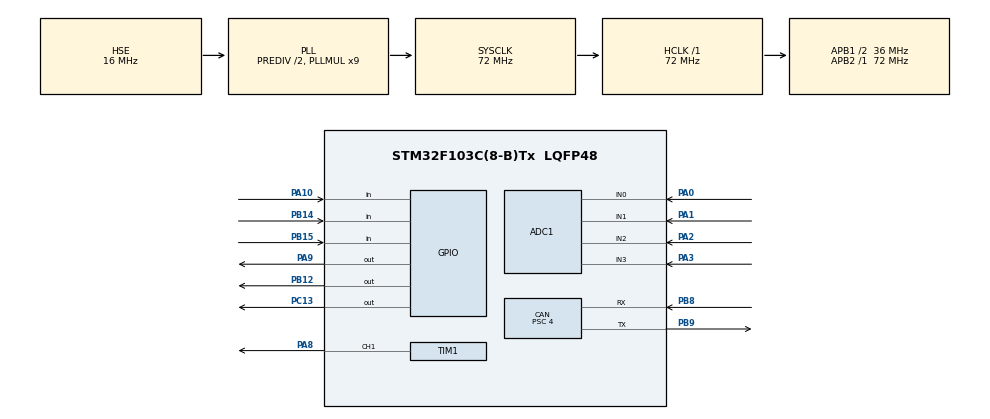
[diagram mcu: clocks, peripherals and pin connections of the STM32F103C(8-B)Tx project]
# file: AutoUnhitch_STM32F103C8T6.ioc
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ADC1.Channel-0\#ChannelRegularConversion=ADC_CHANNEL_0
ADC1.Channel-1\#ChannelRegularConversion=ADC_CHANNEL_1
ADC1.Channel-2\#ChannelRegularConversion=ADC_CHANNEL_0
ADC1.Channel-3\#ChannelRegularConversion=ADC_CHANNEL_0
ADC1.ContinuousConvMode=ENABLE
ADC1.NbrOfConversion=4
ADC1.NbrOfConversionFlag=1
ADC1.Rank-0\#ChannelRegularConversion=1
ADC1.Rank-1\#ChannelRegularConversion=2
ADC1.Rank-2\#ChannelRegularConversion=3
ADC1.Rank-3\#ChannelRegularConversion=4
ADC1.SamplingTime-0\#ChannelRegularConversion=ADC_SAMPLETIME_13CYCLES_5
ADC1.SamplingTime-1\#ChannelRegularConversion=ADC_SAMPLETIME_13CYCLES_5
ADC1.SamplingTime-2\#ChannelRegularConversion=ADC_SAMPLETIME_13CYCLES_5
ADC1.SamplingTime-3\#ChannelRegularConversion=ADC_SAMPLETIME_13CYCLES_5
ADC1.master=1
CAN.BS1=CAN_BS1_13TQ
CAN.BS2=CAN_BS2_4TQ
CAN.CalculateBaudRate=500000
CAN.CalculateTimeBit=2000
CAN.CalculateTimeQuantum=111.11111111111111
CAN.Prescaler=4
FREERTOS.Queues01=CAN1RX_Data_Queue,20,CAN1_Queue_TX,0,Dynamic,NULL,NULL
FREERTOS.Tasks01=Read_Sensors,24,128,Read_Sensors_Func,Default,NULL,Dynamic,NULL,NULL;CANRX_Data_Proc,24,128,CANRX_Data_Process_Func,Default,NULL,Dynamic,NULL,NULL;Decision_Making,24,128,Decision_Making_Function,Default,NULL,Dynamic,NULL,NULL
FREERTOS.configUSE_NEWLIB_REENTRANT=1
Mcu.Family=STM32F1
Mcu.Name=STM32F103C(8-B)Tx
Mcu.Package=LQFP48
NVIC.PriorityGroup=NVIC_PRIORITYGROUP_4
NVIC.TIM4_IRQn=true\:15\:0\:false\:false\:true\:false\:false\:true\:true
NVIC.TimeBase=TIM4_IRQn
NVIC.TimeBaseIP=TIM4
NVIC.USB_LP_CAN1_RX0_IRQn=true\:5\:0\:false\:false\:true\:true\:true\:true\:true
PA0-WKUP.Signal=ADCx_IN0
PA1.Signal=ADCx_IN1
PA10.Signal=GPIO_Input
PA13.Mode=Serial_Wire
PA13.Signal=SYS_JTMS-SWDIO
PA14.Mode=Serial_Wire
PA14.Signal=SYS_JTCK-SWCLK
PA2.Signal=ADCx_IN2
PA3.Signal=ADCx_IN3
PA8.Signal=S_TIM1_CH1
PA9.Signal=GPIO_Output
PB12.Signal=GPIO_Output
PB14.Signal=GPIO_Input
PB15.Signal=GPIO_Input
PB8.Mode=CAN_Activate
PB8.Signal=CAN_RX
PB9.Mode=CAN_Activate
PB9.Signal=CAN_TX
PC13-TAMPER-RTC.Signal=GPIO_Output
PD0-OSC_IN.Mode=HSE-External-Oscillator
PD0-OSC_IN.Signal=RCC_OSC_IN
PD1-OSC_OUT.Mode=HSE-External-Oscillator
PD1-OSC_OUT.Signal=RCC_OSC_OUT
ProjectManager.HeapSize=0x200
ProjectManager.StackSize=0x400
ProjectManager.TargetToolchain=STM32CubeIDE
RCC.ADCPresc=RCC_ADCPCLK2_DIV6
RCC.AHBFreq_Value=72000000
RCC.APB1CLKDivider=RCC_HCLK_DIV2
RCC.APB1Freq_Value=36000000
RCC.APB1TimFreq_Value=72000000
RCC.APB2Freq_Value=72000000
RCC.APB2TimFreq_Value=72000000
RCC.HCLKFreq_Value=72000000
RCC.HSEDivPLL=RCC_HSE_PREDIV_DIV2
RCC.HSE_VALUE=16000000
RCC.PLLMUL=RCC_PLL_MUL9
RCC.PLLSourceVirtual=RCC_PLLSOURCE_HSE
RCC.SYSCLKFreq_VALUE=72000000
RCC.SYSCLKSource=RCC_SYSCLKSOURCE_PLLCLK
RCC.USBFreq_Value=48000000
RCC.USBPrescaler=RCC_USBCLKSOURCE_PLL_DIV1_5
SH.ADCx_IN0.0=ADC1_IN0,IN0
SH.ADCx_IN1.0=ADC1_IN1,IN1
SH.ADCx_IN2.0=ADC1_IN2,IN2
SH.ADCx_IN3.0=ADC1_IN3,IN3
SH.S_TIM1_CH1.0=TIM1_CH1,PWM Generation1 CH1
TIM1.Channel-PWM\ Generation1\ CH1=TIM_CHANNEL_1
TIM1.Period=500
TIM1.Prescaler=72-1
TIM3.Prescaler=72-1
VP_FREERTOS_VS_CMSIS_V2.Mode=CMSIS_V2
VP_SYS_VS_tim4.Mode=TIM4
VP_TIM3_VS_ClockSourceINT.Mode=Internal
board=custom

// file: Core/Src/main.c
/* USER CODE BEGIN Header */
/**
  ******************************************************************************
  * @file           : main.c
  * @brief          : Main program body
  ******************************************************************************
  * @attention
  *
  * Copyright (c) 2025 STMicroelectronics.
  * All rights reserved.
  *
  * This software is licensed under terms that can be found in the LICENSE file
  * in the root directory of this software component.
  * If no LICENSE file comes with this software, it is provided AS-IS.
  *
  *
  *
  *
  *
  *
  ******************************************************************************
  */
/* USER CODE END Header */
#include "main.h"
#include "cmsis_os.h"

/* USER CODE BEGIN Includes */

#include <stdbool.h>

/* USER CODE END Includes */

/* USER CODE BEGIN PD */

volatile uint8_t aa = 0;
volatile uint8_t bb = 0;
volatile uint8_t cc = 0;
volatile uint8_t dd = 0;

//***************        ADC          *********************
volatile uint32_t ADC_VAL[4];
///////////      CAN1       ////////////////////////////

#define Auto_Unhitch_RX_CANID 0x11155
#define Auto_Unhitch_TX_CANID 0x33333

CAN_RxHeaderTypeDef  CAN1RX_Header;
volatile uint8_t     CAN1_Queue_TX[12];
volatile uint8_t     CAN1RX_DATA[8];
volatile uint8_t     CAN1TX_DATA[8];

volatile uint32_t   CAN1RX_ID_Queue = 0;
volatile uint32_t   CAN1RX_IDE_DATA = 0;
volatile uint32_t   CAN1RX_Std_ID_DATA = 0;
volatile uint32_t   CAN1RX_Ext_ID_DATA = 0;

///**************  GPIO READ
volatile uint8_t DIGITAL_SENSE1 = 0;
volatile uint8_t DIGITAL_SENSE2 = 0;
volatile uint8_t nFAULT         = 0;

//***************   PWM  *************

#define PWM_SCALE 5
volatile uint8_t AutoUnhitch_PWM_DC_Percentage = 100 ;
uint32_t Duty_Cycle1 ;

//**************** Errors ********

volatile bool ISEN_Error = false;
volatile bool ISEN_200ms_Timeout = false;

//************  Sensors
volatile float ISEN_Current =0;
volatile float CANTX_ISEN = 0;

volatile float VSEN_24V =0;
volatile float CANTX_VSEN_24V = 0;

volatile bool DIR_AUTOUNHITCH = 0;
/* USER CODE END PD */

ADC_HandleTypeDef hadc1;

CAN_HandleTypeDef hcan;

TIM_HandleTypeDef htim1;
TIM_HandleTypeDef htim3;

/* Definitions for Read_Sensors */
osThreadId_t Read_SensorsHandle;
const osThreadAttr_t Read_Sensors_attributes = {
  .name = "Read_Sensors",
  .stack_size = 128 * 4,
  .priority = (osPriority_t) osPriorityNormal,
};
/* Definitions for CANRX_Data_Proc */
osThreadId_t CANRX_Data_ProcHandle;
const osThreadAttr_t CANRX_Data_Proc_attributes = {
  .name = "CANRX_Data_Proc",
  .stack_size = 128 * 4,
  .priority = (osPriority_t) osPriorityNormal,
};
/* Definitions for Decision_Making */
osThreadId_t Decision_MakingHandle;
const osThreadAttr_t Decision_Making_attributes = {
  .name = "Decision_Making",
  .stack_size = 128 * 4,
  .priority = (osPriority_t) osPriorityNormal,
};
/* Definitions for CAN1RX_Data_Queue */
osMessageQueueId_t CAN1RX_Data_QueueHandle;
const osMessageQueueAttr_t CAN1RX_Data_Queue_attributes = {
  .name = "CAN1RX_Data_Queue"
};

void SystemClock_Config(void);
static void MX_GPIO_Init(void);
static void MX_CAN_Init(void);
static void MX_ADC1_Init(void);
static void MX_TIM1_Init(void);
static void MX_TIM3_Init(void);
void Read_Sensors_Func(void *argument);
void CANRX_Data_Process_Func(void *argument);
void Decision_Making_Function(void *argument);

/* USER CODE BEGIN 0 */

//uint8_t Read_ISEN_Current(){
//
//
//}

float Read_ISEN_Current(uint32_t ADC_RAW_VAL[]){

	float ISEN_Current_Result;
	float x ,cal ;
	x =   (float)ADC_RAW_VAL[0];
	// printf("%f\n",x);
	cal =  (x/4095)*3.3*6.094  ;
	//  printf("%f\n",cal);
	ISEN_Current_Result = cal ;
	//  printf("%f\n",offset);
	//  converted = offset *10;
	//  printf("%f\n",converted);
	//  result = (uint8_t)converted;
	//   printf("%d\n",result);

	return ISEN_Current_Result;

}

float Read_VSEN_24V(uint32_t ADC_RAW_VAL[]){

	float VSEN_24V_Result;
	float y  ;
	y =   (float)ADC_RAW_VAL[3];
	// printf("%f\n",x);
	VSEN_24V_Result =  (y/4095)*3.3*11  ;
	//  printf("%f\n",cal);

	//  printf("%f\n",offset);
	//  converted = offset *10;
	//  printf("%f\n",converted);
	//  result = (uint8_t)converted;
	//   printf("%d\n",result);

	return VSEN_24V_Result;

}

void Delay_Micro_Seconds (uint16_t us)
{
	__HAL_TIM_SET_COUNTER(&htim3,0);  // set the counter value a 0
	while (__HAL_TIM_GET_COUNTER(&htim3) < us);  // wait for the counter to reach the us input in the parameter
}

HAL_StatusTypeDef CAN_TransmitMessage_Std_ID(CAN_HandleTypeDef *hcan,uint32_t Std_ID, uint8_t *data, uint8_t len) {
    CAN_TxHeaderTypeDef TxHeader;
    uint32_t TxMailbox = 0;
    HAL_StatusTypeDef status;

    // Configure TxHeadervolatile uint16_t  Left_End_Stop_Steering  = 0;
    volatile uint16_t  Right_End_Stop_Steering = 0;
    TxHeader.StdId = Std_ID;           // Standard Identifier

    TxHeader.IDE = CAN_ID_STD;        // Standard ID

    TxHeader.RTR = CAN_RTR_DATA;      // Data frame
    TxHeader.DLC = len;               // Data Length Code
    TxHeader.TransmitGlobalTime = DISABLE;

    // Request transmission
    status = HAL_CAN_AddTxMessage(hcan, &TxHeader, data, &TxMailbox);

    if (status != HAL_OK) {
        // Transmission request failed
        return status;
    }

    // Wait until the transmission is complete
    while (HAL_CAN_IsTxMessagePending(hcan, TxMailbox));

    // Transmission successful, mailbox is freed automatically

    return HAL_OK;
}

/*
 * STD ID
 */
HAL_StatusTypeDef CAN_TransmitMessage_Ext_ID(CAN_HandleTypeDef *hcan, uint32_t Ext_ID, uint8_t *data, uint8_t len) {
    CAN_TxHeaderTypeDef TxHeader;
    uint32_t TxMailbox = 0;
    HAL_StatusTypeDef status;

    // Configure TxHeader
            // Standard Identifier
    TxHeader.ExtId = Ext_ID;            // Extended Identifier (not used in this case)

    TxHeader.IDE = CAN_ID_EXT;
    TxHeader.RTR = CAN_RTR_DATA;      // Data frame
    TxHeader.DLC = len;               // Data Length Code
    TxHeader.TransmitGlobalTime = DISABLE;

    // Request transmission
    status = HAL_CAN_AddTxMessage(hcan, &TxHeader, data, &TxMailbox);

    if (status != HAL_OK) {
        // Transmission request failed
        return status;
    }

    // Wait until the transmission is complete
    while (HAL_CAN_IsTxMessagePending(hcan, TxMailbox));

    // Transmission successful, mailbox is freed automatically
    return HAL_OK;
}

void HAL_CAN_RxFifo0MsgPendingCallback(CAN_HandleTypeDef *hcan)
{

    if (hcan->Instance == CAN1)
       {
            HAL_CAN_GetRxMessage(hcan, CAN_RX_FIFO0, &CAN1RX_Header, CAN1RX_DATA);
            // Process CAN1 Data here
            CAN1_Queue_TX[0] = CAN1RX_DATA[0];
			CAN1_Queue_TX[1] = CAN1RX_DATA[1];
			CAN1_Queue_TX[2] = CAN1RX_DATA[2];
			CAN1_Queue_TX[3] = CAN1RX_DATA[3];

			CAN1_Queue_TX[4] = CAN1RX_DATA[4];
			CAN1_Queue_TX[5] = CAN1RX_DATA[5];
			CAN1_Queue_TX[6] = CAN1RX_DATA[6];
			CAN1_Queue_TX[7] = CAN1RX_DATA[7];

			//		CAN1_RX_DLC = RxHeader.DLC;

			CAN1RX_IDE_DATA = CAN1RX_Header.IDE;
			if(CAN1RX_IDE_DATA == 0) {
				CAN1RX_Std_ID_DATA = CAN1RX_Header.StdId;
				CAN1_Queue_TX[8]  =  (CAN1RX_Std_ID_DATA >> 0)  & 0xFF;
				CAN1_Queue_TX[9]  =  (CAN1RX_Std_ID_DATA >> 8)  & 0xFF;
				CAN1_Queue_TX[10] =  (CAN1RX_Std_ID_DATA >> 16) & 0xFF;
				CAN1_Queue_TX[11] =  (CAN1RX_Std_ID_DATA >> 24) & 0xFF;
			}else {
				CAN1RX_Ext_ID_DATA = CAN1RX_Header.ExtId;
				CAN1_Queue_TX[8] =  (CAN1RX_Ext_ID_DATA >> 0)  & 0xFF;
				CAN1_Queue_TX[9] = (CAN1RX_Ext_ID_DATA >> 8)  & 0xFF;
				CAN1_Queue_TX[10] = (CAN1RX_Ext_ID_DATA >> 16) & 0xFF;
				CAN1_Queue_TX[11] = (CAN1RX_Ext_ID_DATA >> 24) & 0xFF;
			}
			 // Attempt to send data to the queue in a non-blocking way
			osStatus_t status = osMessageQueuePut(CAN1RX_Data_QueueHandle, CAN1_Queue_TX, 0, 0);  // No timeout, no blocking
			if (status != osOK)
			{
			  // Queue full, data not sent; could handle this or log it
			}

       }
}

/* USER CODE END 0 */

int main(void)
{

  /* MCU Configuration--------------------------------------------------------*/

  /* Reset of all peripherals, Initializes the Flash interface and the Systick. */
  HAL_Init();

  /* Configure the system clock */
  SystemClock_Config();

  /* Initialize all configured peripherals */
  MX_GPIO_Init();
  MX_CAN_Init();
  MX_ADC1_Init();
  MX_TIM1_Init();
  MX_TIM3_Init();
  /* USER CODE BEGIN 2 */

	HAL_Delay(100);// just normal
	//Timer PWM Start for uS delay generation
	HAL_TIM_Base_Start(&htim3);

	HAL_GPIO_WritePin(GPIOB, GPIO_PIN_12, GPIO_PIN_SET);
	HAL_Delay(5);
	HAL_GPIO_WritePin(GPIOB, GPIO_PIN_12, GPIO_PIN_RESET);

	// Must have Delay
	Delay_Micro_Seconds(15);

	HAL_GPIO_WritePin(GPIOB, GPIO_PIN_12, GPIO_PIN_SET);
	HAL_Delay(5);
	HAL_TIM_PWM_Start(&htim1, TIM_CHANNEL_1);

	HAL_GPIO_WritePin(GPIOA, GPIO_PIN_9, 1);// PWM Direction PIN
	//CAN Start
	HAL_CAN_Start(&hcan);

	// Activate the notification
	HAL_CAN_ActivateNotification(&hcan, CAN_IT_RX_FIFO0_MSG_PENDING);

  /* USER CODE END 2 */

  /* Init scheduler */
  osKernelInitialize();

  /* Create the queue(s) */
  /* creation of CAN1RX_Data_Queue */
  CAN1RX_Data_QueueHandle = osMessageQueueNew (20, sizeof(CAN1_Queue_TX), &CAN1RX_Data_Queue_attributes);

  /* Create the thread(s) */
  /* creation of Read_Sensors */
  Read_SensorsHandle = osThreadNew(Read_Sensors_Func, NULL, &Read_Sensors_attributes);

  /* creation of CANRX_Data_Proc */
  CANRX_Data_ProcHandle = osThreadNew(CANRX_Data_Process_Func, NULL, &CANRX_Data_Proc_attributes);

  /* creation of Decision_Making */
  Decision_MakingHandle = osThreadNew(Decision_Making_Function, NULL, &Decision_Making_attributes);

  /* Start scheduler */
  osKernelStart();

  /* We should never get here as control is now taken by the scheduler */

  /* Infinite loop */
  while (1)
  {

  }
}

void SystemClock_Config(void)
{
  RCC_OscInitTypeDef RCC_OscInitStruct = {0};
  RCC_ClkInitTypeDef RCC_ClkInitStruct = {0};
  RCC_PeriphCLKInitTypeDef PeriphClkInit = {0};

  /** Initializes the RCC Oscillators according to the specified parameters
  * in the RCC_OscInitTypeDef structure.
  */
  RCC_OscInitStruct.OscillatorType = RCC_OSCILLATORTYPE_HSE;
  RCC_OscInitStruct.HSEState = RCC_HSE_ON;
  RCC_OscInitStruct.HSEPredivValue = RCC_HSE_PREDIV_DIV2;
  RCC_OscInitStruct.HSIState = RCC_HSI_ON;
  RCC_OscInitStruct.PLL.PLLState = RCC_PLL_ON;
  RCC_OscInitStruct.PLL.PLLSource = RCC_PLLSOURCE_HSE;
  RCC_OscInitStruct.PLL.PLLMUL = RCC_PLL_MUL9;
  if (HAL_RCC_OscConfig(&RCC_OscInitStruct) != HAL_OK)
  {
    Error_Handler();
  }

  /** Initializes the CPU, AHB and APB buses clocks
  */
  RCC_ClkInitStruct.ClockType = RCC_CLOCKTYPE_HCLK|RCC_CLOCKTYPE_SYSCLK
                              |RCC_CLOCKTYPE_PCLK1|RCC_CLOCKTYPE_PCLK2;
  RCC_ClkInitStruct.SYSCLKSource = RCC_SYSCLKSOURCE_PLLCLK;
  RCC_ClkInitStruct.AHBCLKDivider = RCC_SYSCLK_DIV1;
  RCC_ClkInitStruct.APB1CLKDivider = RCC_HCLK_DIV2;
  RCC_ClkInitStruct.APB2CLKDivider = RCC_HCLK_DIV1;

  if (HAL_RCC_ClockConfig(&RCC_ClkInitStruct, FLASH_LATENCY_2) != HAL_OK)
  {
    Error_Handler();
  }
  PeriphClkInit.PeriphClockSelection = RCC_PERIPHCLK_ADC;
  PeriphClkInit.AdcClockSelection = RCC_ADCPCLK2_DIV6;
  if (HAL_RCCEx_PeriphCLKConfig(&PeriphClkInit) != HAL_OK)
  {
    Error_Handler();
  }
}

static void MX_ADC1_Init(void)
{

  ADC_ChannelConfTypeDef sConfig = {0};

  /** Common config
  */
  hadc1.Instance = ADC1;
  hadc1.Init.ScanConvMode = ADC_SCAN_ENABLE;
  hadc1.Init.ContinuousConvMode = ENABLE;
  hadc1.Init.DiscontinuousConvMode = DISABLE;
  hadc1.Init.ExternalTrigConv = ADC_SOFTWARE_START;
  hadc1.Init.DataAlign = ADC_DATAALIGN_RIGHT;
  hadc1.Init.NbrOfConversion = 1;
  if (HAL_ADC_Init(&hadc1) != HAL_OK)
  {
    Error_Handler();
  }

  /** Configure Regular Channel
  */
  sConfig.Channel = ADC_CHANNEL_0;
  sConfig.Rank = ADC_REGULAR_RANK_1;
  sConfig.SamplingTime = ADC_SAMPLETIME_13CYCLES_5;
  if (HAL_ADC_ConfigChannel(&hadc1, &sConfig) != HAL_OK)
  {
    Error_Handler();
  }

  /** Configure Regular Channel
  */
  sConfig.Channel = ADC_CHANNEL_1;
  sConfig.Rank = ADC_REGULAR_RANK_2;
  if (HAL_ADC_ConfigChannel(&hadc1, &sConfig) != HAL_OK)
  {
    Error_Handler();
  }

  /** Configure Regular Channel
  */
  sConfig.Channel = ADC_CHANNEL_0;
  sConfig.Rank = ADC_REGULAR_RANK_3;
  if (HAL_ADC_ConfigChannel(&hadc1, &sConfig) != HAL_OK)
  {
    Error_Handler();
  }

  /** Configure Regular Channel
  */
  sConfig.Rank = ADC_REGULAR_RANK_4;
  if (HAL_ADC_ConfigChannel(&hadc1, &sConfig) != HAL_OK)
  {
    Error_Handler();
  }
  /* USER CODE BEGIN ADC1_Init 2 */

  CAN_FilterTypeDef can1FilterConfig;
  can1FilterConfig.FilterBank = 0;                           // Bank 0 for CAN1
  can1FilterConfig.FilterMode = CAN_FILTERMODE_IDMASK;
  can1FilterConfig.FilterScale = CAN_FILTERSCALE_32BIT;
  can1FilterConfig.FilterIdHigh = 0x0000;
  can1FilterConfig.FilterIdLow = 0x0000;
  can1FilterConfig.FilterMaskIdHigh = 0x0000;
  can1FilterConfig.FilterMaskIdLow = 0x0000;
  can1FilterConfig.FilterFIFOAssignment = CAN_FILTER_FIFO0;  // ⬅️ FIFO0 for CAN1
  can1FilterConfig.FilterActivation = ENABLE;
  can1FilterConfig.SlaveStartFilterBank = 0;           // doesn't matter in single can controllers
  HAL_CAN_ConfigFilter(&hcan, &can1FilterConfig);

  /* USER CODE END ADC1_Init 2 */

}

static void MX_CAN_Init(void)
{

  hcan.Instance = CAN1;
  hcan.Init.Prescaler = 4;
  hcan.Init.Mode = CAN_MODE_NORMAL;
  hcan.Init.SyncJumpWidth = CAN_SJW_1TQ;
  hcan.Init.TimeSeg1 = CAN_BS1_13TQ;
  hcan.Init.TimeSeg2 = CAN_BS2_4TQ;
  hcan.Init.TimeTriggeredMode = DISABLE;
  hcan.Init.AutoBusOff = DISABLE;
  hcan.Init.AutoWakeUp = DISABLE;
  hcan.Init.AutoRetransmission = DISABLE;
  hcan.Init.ReceiveFifoLocked = DISABLE;
  hcan.Init.TransmitFifoPriority = DISABLE;
  if (HAL_CAN_Init(&hcan) != HAL_OK)
  {
    Error_Handler();
  }

}

static void MX_TIM1_Init(void)
{

  TIM_MasterConfigTypeDef sMasterConfig = {0};
  TIM_OC_InitTypeDef sConfigOC = {0};
  TIM_BreakDeadTimeConfigTypeDef sBreakDeadTimeConfig = {0};

  htim1.Instance = TIM1;
  htim1.Init.Prescaler = 72-1;
  htim1.Init.CounterMode = TIM_COUNTERMODE_UP;
  htim1.Init.Period = 500;
  htim1.Init.ClockDivision = TIM_CLOCKDIVISION_DIV1;
  htim1.Init.RepetitionCounter = 0;
  htim1.Init.AutoReloadPreload = TIM_AUTORELOAD_PRELOAD_DISABLE;
  if (HAL_TIM_PWM_Init(&htim1) != HAL_OK)
  {
    Error_Handler();
  }
  sMasterConfig.MasterOutputTrigger = TIM_TRGO_RESET;
  sMasterConfig.MasterSlaveMode = TIM_MASTERSLAVEMODE_DISABLE;
  if (HAL_TIMEx_MasterConfigSynchronization(&htim1, &sMasterConfig) != HAL_OK)
  {
    Error_Handler();
  }
  sConfigOC.OCMode = TIM_OCMODE_PWM1;
  sConfigOC.Pulse = 0;
  sConfigOC.OCPolarity = TIM_OCPOLARITY_HIGH;
  sConfigOC.OCNPolarity = TIM_OCNPOLARITY_HIGH;
  sConfigOC.OCFastMode = TIM_OCFAST_DISABLE;
  sConfigOC.OCIdleState = TIM_OCIDLESTATE_RESET;
  sConfigOC.OCNIdleState = TIM_OCNIDLESTATE_RESET;
  if (HAL_TIM_PWM_ConfigChannel(&htim1, &sConfigOC, TIM_CHANNEL_1) != HAL_OK)
  {
    Error_Handler();
  }
  sBreakDeadTimeConfig.OffStateRunMode = TIM_OSSR_DISABLE;
  sBreakDeadTimeConfig.OffStateIDLEMode = TIM_OSSI_DISABLE;
  sBreakDeadTimeConfig.LockLevel = TIM_LOCKLEVEL_OFF;
  sBreakDeadTimeConfig.DeadTime = 0;
  sBreakDeadTimeConfig.BreakState = TIM_BREAK_DISABLE;
  sBreakDeadTimeConfig.BreakPolarity = TIM_BREAKPOLARITY_HIGH;
  sBreakDeadTimeConfig.AutomaticOutput = TIM_AUTOMATICOUTPUT_DISABLE;
  if (HAL_TIMEx_ConfigBreakDeadTime(&htim1, &sBreakDeadTimeConfig) != HAL_OK)
  {
    Error_Handler();
  }
  HAL_TIM_MspPostInit(&htim1);

}

static void MX_TIM3_Init(void)
{

  TIM_ClockConfigTypeDef sClockSourceConfig = {0};
  TIM_MasterConfigTypeDef sMasterConfig = {0};

  htim3.Instance = TIM3;
  htim3.Init.Prescaler = 72-1;
  htim3.Init.CounterMode = TIM_COUNTERMODE_UP;
  htim3.Init.Period = 65535;
  htim3.Init.ClockDivision = TIM_CLOCKDIVISION_DIV1;
  htim3.Init.AutoReloadPreload = TIM_AUTORELOAD_PRELOAD_DISABLE;
  if (HAL_TIM_Base_Init(&htim3) != HAL_OK)
  {
    Error_Handler();
  }
  sClockSourceConfig.ClockSource = TIM_CLOCKSOURCE_INTERNAL;
  if (HAL_TIM_ConfigClockSource(&htim3, &sClockSourceConfig) != HAL_OK)
  {
    Error_Handler();
  }
  sMasterConfig.MasterOutputTrigger = TIM_TRGO_RESET;
  sMasterConfig.MasterSlaveMode = TIM_MASTERSLAVEMODE_DISABLE;
  if (HAL_TIMEx_MasterConfigSynchronization(&htim3, &sMasterConfig) != HAL_OK)
  {
    Error_Handler();
  }

}

static void MX_GPIO_Init(void)
{
  GPIO_InitTypeDef GPIO_InitStruct = {0};

  /* GPIO Ports Clock Enable */
  __HAL_RCC_GPIOC_CLK_ENABLE();
  __HAL_RCC_GPIOD_CLK_ENABLE();
  __HAL_RCC_GPIOA_CLK_ENABLE();
  __HAL_RCC_GPIOB_CLK_ENABLE();

  /*Configure GPIO pin Output Level */
  HAL_GPIO_WritePin(GPIOC, GPIO_PIN_13, GPIO_PIN_RESET);

  /*Configure GPIO pin Output Level */
  HAL_GPIO_WritePin(GPIOB, GPIO_PIN_12, GPIO_PIN_RESET);

  /*Configure GPIO pin Output Level */
  HAL_GPIO_WritePin(GPIOA, GPIO_PIN_9, GPIO_PIN_RESET);

  /*Configure GPIO pin : PC13 */
  GPIO_InitStruct.Pin = GPIO_PIN_13;
  GPIO_InitStruct.Mode = GPIO_MODE_OUTPUT_PP;
  GPIO_InitStruct.Pull = GPIO_NOPULL;
  GPIO_InitStruct.Speed = GPIO_SPEED_FREQ_LOW;
  HAL_GPIO_Init(GPIOC, &GPIO_InitStruct);

  /*Configure GPIO pin : PB12 */
  GPIO_InitStruct.Pin = GPIO_PIN_12;
  GPIO_InitStruct.Mode = GPIO_MODE_OUTPUT_PP;
  GPIO_InitStruct.Pull = GPIO_NOPULL;
  GPIO_InitStruct.Speed = GPIO_SPEED_FREQ_LOW;
  HAL_GPIO_Init(GPIOB, &GPIO_InitStruct);

  /*Configure GPIO pins : PB14 PB15 */
  GPIO_InitStruct.Pin = GPIO_PIN_14|GPIO_PIN_15;
  GPIO_InitStruct.Mode = GPIO_MODE_INPUT;
  GPIO_InitStruct.Pull = GPIO_NOPULL;
  HAL_GPIO_Init(GPIOB, &GPIO_InitStruct);

  /*Configure GPIO pin : PA9 */
  GPIO_InitStruct.Pin = GPIO_PIN_9;
  GPIO_InitStruct.Mode = GPIO_MODE_OUTPUT_PP;
  GPIO_InitStruct.Pull = GPIO_NOPULL;
  GPIO_InitStruct.Speed = GPIO_SPEED_FREQ_LOW;
  HAL_GPIO_Init(GPIOA, &GPIO_InitStruct);

  /*Configure GPIO pin : PA10 */
  GPIO_InitStruct.Pin = GPIO_PIN_10;
  GPIO_InitStruct.Mode = GPIO_MODE_INPUT;
  GPIO_InitStruct.Pull = GPIO_NOPULL;
  HAL_GPIO_Init(GPIOA, &GPIO_InitStruct);

}

/* USER CODE BEGIN 4 */

//
//ADC_Auto_Unhitch_Read(ADC_VAL);
//ADC_Current_Sensor_1_Read(ADC_VAL);
//ADC_Current_Sensor_2_Read(ADC_VAL);
//ADC_24V_Read(ADC_VAL);
//
//
//DIGITAL_SENSE1 = HAL_GPIO_ReadPin(GPIOB ,GPIO_PIN_15);
//DIGITAL_SENSE2 = HAL_GPIO_ReadPin(GPIOB ,GPIO_PIN_14);
//nFAULT = HAL_GPIO_ReadPin(GPIOA ,GPIO_PIN_10);
//
//aa++;
//osDelay(100);

/* USER CODE END 4 */

void Read_Sensors_Func(void *argument)
{
  /* USER CODE BEGIN 5 */

  /* Infinite loop */
  for(;;)
  {

	//All ADC Read
	ADC_Auto_Unhitch_Read(ADC_VAL);
	ADC_Current_Sensor_1_Read(ADC_VAL);
	ADC_Current_Sensor_2_Read(ADC_VAL);
	ADC_24V_Read(ADC_VAL);

	// Read ISEN Current
	ISEN_Current = 0;
	ISEN_Current = Read_ISEN_Current(ADC_VAL);
	if(ISEN_Current > 0.2){
		ISEN_Current = ISEN_Current + 0.3;

	}

	// Read 24V
	VSEN_24V = Read_VSEN_24V(ADC_VAL);

	// Convert for CANTX fact *10
	CANTX_ISEN = ISEN_Current *10;

	// Convert for CANTX fact *10
	CANTX_VSEN_24V = VSEN_24V *10;
	//add scal factor 10

	CAN1TX_DATA[0] = (uint8_t)CANTX_ISEN ;
	CAN1TX_DATA[1] = ADC_VAL[1];
	CAN1TX_DATA[2] = ADC_VAL[2];
	CAN1TX_DATA[3] = (uint8_t)CANTX_VSEN_24V;

	// ALL GPIO READ
	DIGITAL_SENSE1 = HAL_GPIO_ReadPin(GPIOB ,GPIO_PIN_15);
	DIGITAL_SENSE2 = HAL_GPIO_ReadPin(GPIOB ,GPIO_PIN_14);
	nFAULT         = HAL_GPIO_ReadPin(GPIOA ,GPIO_PIN_10);

	if(DIGITAL_SENSE1 == 0)  {
		//set bit 0 = 0
		CAN1TX_DATA[4] &= ~(1 << 0);
	}else {
		//set bit 0 = 1
		CAN1TX_DATA[4] |=  (1 << 0);
	}

	if(DIGITAL_SENSE2 == 0)  {
		//set bit 1 = 0
		CAN1TX_DATA[4] &= ~(1 << 1);
	}else {
		//set bit 1 = 1
		CAN1TX_DATA[4] |=  (1 << 1);
	}

	CAN1TX_DATA[5] = AutoUnhitch_PWM_DC_Percentage; //PWM feedback in 100%

    //set bit 0 for ISEN ERROR *************************
	if(ISEN_Error == 0)  {
		//set bit 0 = 0
		CAN1TX_DATA[6] &= ~(1 << 0);
	}else {
		//set bit 0 = 1
		CAN1TX_DATA[6] |=  (1 << 0);
	}

	// set bit 1 for nFault         ********************************
	if(nFAULT == 0)  {
		//set bit 1 = 0
		CAN1TX_DATA[6] &= ~(1 << 1);
	}else {
		//set bit 1 = 1
		CAN1TX_DATA[6] |=  (1 << 1);
	}

	//set bit 2 for autounhitch direction  ***********************************
	if(DIR_AUTOUNHITCH == 0)  {
		//set bit 1 = 0
		CAN1TX_DATA[6] &= ~(1 << 2);
	}else {
		//set bit 1 = 1
		CAN1TX_DATA[6] |=  (1 << 2);
	}

	CAN1TX_DATA[7] = 0;

    // CAN Transmit
	CAN_TransmitMessage_Ext_ID(&hcan, Auto_Unhitch_TX_CANID, CAN1TX_DATA, 8);

	aa++;
	osDelay(100);

  }
  /* USER CODE END 5 */
}

void CANRX_Data_Process_Func(void *argument)
{
  /* USER CODE BEGIN CANRX_Data_Process_Func */

	uint8_t Received_CAN1RX[12];
	osStatus_t Status_CAN1;
  /* Infinite loop */
  for(;;)
  {

		// Wait for and receive data from the queue
		Status_CAN1 = osMessageQueueGet(CAN1RX_Data_QueueHandle, Received_CAN1RX, NULL, osWaitForever);
		if (Status_CAN1 == osOK)  {
			// Process Received_CAN1RX data
			// Indicate processing by toggling an LED, etc.

			// Reconstruct uint32_t from bb (Little-endian format)
			CAN1RX_ID_Queue = 	( Received_CAN1RX[8]  <<  0 ) |
			( Received_CAN1RX[9]  <<  8 ) |
			( Received_CAN1RX[10] << 16 ) |
			( Received_CAN1RX[11] << 24 );

			switch (CAN1RX_ID_Queue)
			{
				case Auto_Unhitch_RX_CANID:
					AutoUnhitch_PWM_DC_Percentage = Received_CAN1RX[0];

					if(Received_CAN1RX[1] == 1 )	{
						HAL_GPIO_WritePin(GPIOA, GPIO_PIN_9, 1);// PWM Direction PIN
						DIR_AUTOUNHITCH = 1;
					}
					if(Received_CAN1RX[1] == 0 )	{
						HAL_GPIO_WritePin(GPIOA, GPIO_PIN_9, 0);// PWM Direction PIN
						DIR_AUTOUNHITCH =0;
					}

					break;

				default:
					//
					break;
			}
		}
		bb++;
        osDelay(1);

  }
  /* USER CODE END CANRX_Data_Process_Func */
}

void Decision_Making_Function(void *argument)
{
  /* USER CODE BEGIN Decision_Making_Function */
  /* Infinite loop */
  for(;;)
  {
		if (AutoUnhitch_PWM_DC_Percentage <= 100)	{ // No need to check >= 0, since it's uint8_t
			if(ISEN_Error == false)	{
				Duty_Cycle1 = ((uint32_t) AutoUnhitch_PWM_DC_Percentage) * PWM_SCALE;
				TIM1->CCR1 = Duty_Cycle1;
			}

		}
		//		 // current above 0.3 A
		if(ISEN_Current > 0.1 )	{
			// adding offset

			if(ISEN_200ms_Timeout == false)  {
				// check 200 ms in loop
				for(int i = 0 ; i<200;i++)	{
				// 5A above then cutoff
				if(ISEN_Current > 4.7)	{
				TIM1->CCR1 = 0;
				// error code
				ISEN_Error = true;
				}
				else{
				ISEN_Error = false;
				}
				osDelay(1);
				}
				ISEN_200ms_Timeout = true;
			}

			//after 200 ms
			// 2A above then cutoff
			if(ISEN_Current > 2.0 && ISEN_200ms_Timeout == true)	{
				TIM1->CCR1 = 0;
				// error code
				ISEN_Error = true;
			}
			else {
				ISEN_Error = false;
			}
		}
		else {
			// when no current flow then the flag false
			ISEN_200ms_Timeout = false;
		}

		cc++;
		osDelay(1);
  }
  /* USER CODE END Decision_Making_Function */
}

void HAL_TIM_PeriodElapsedCallback(TIM_HandleTypeDef *htim)
{
  if (htim->Instance == TIM4)
  {
    HAL_IncTick();
  }
}

void Error_Handler(void)
{
  __disable_irq();
  while (1)
  {
  }
}
